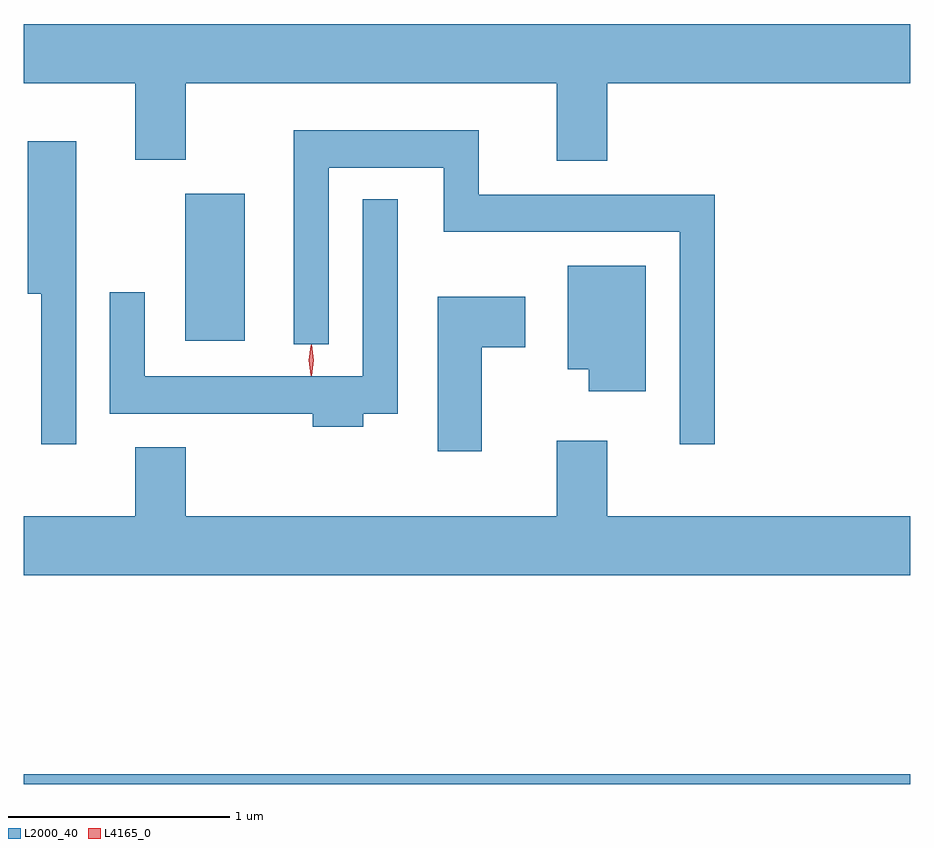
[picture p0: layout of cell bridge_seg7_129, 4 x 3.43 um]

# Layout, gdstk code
import gdstk
lib = gdstk.Library(unit=1e-6, precision=1e-09)
def R(c, l, rs):  # rectangles x0, y0, x1, y1
    for r in rs: c.add(gdstk.rectangle(r[:2], r[2:], *l))
def P(c, l, *ps):  # polygons
    for p in ps: c.add(gdstk.Polygon(p, *l))
L2000_40 = (2000, 40)
L4165_0 = (4165, 0)

bridge_seg7_129 = lib.new_cell('bridge_seg7_129')
R(bridge_seg7_129, L2000_40, [(1563.557,1791.075,1567.557,1791.119), (1564.286,1793.076,1564.554,1793.739)])
P(bridge_seg7_129, L2000_40, [(1566.189,1794.236),(1567.557,1794.236),(1567.557,1794.504),(1563.557,1794.504),(1563.557,1794.236),(1564.061,1794.236),(1564.061,1793.891),(1564.289,1793.891),(1564.289,1794.236),(1565.961,1794.236),(1565.961,1793.886),(1566.189,1793.886)],
  [(1566.674,1793.734),(1565.609,1793.734),(1565.609,1794.024),(1564.776,1794.024),(1564.776,1793.058),(1564.934,1793.058),(1564.934,1793.856),(1565.451,1793.856),(1565.451,1793.566),(1566.516,1793.566),(1566.516,1792.608),(1566.674,1792.608)],
  [(1563.794,1793.974),(1563.576,1793.974),(1563.576,1793.286),(1563.636,1793.286),(1563.636,1792.608),(1563.794,1792.608)],
  [(1565.089,1792.746),(1565.244,1792.746),(1565.244,1793.713),(1565.086,1793.713),(1565.086,1792.914),(1564.104,1792.914),(1564.104,1793.293),(1563.946,1793.293),(1563.946,1792.746),(1564.861,1792.746),(1564.861,1792.686),(1565.089,1792.686)],
  [(1566.364,1793.414),(1566.011,1793.414),(1566.011,1792.946),(1566.106,1792.946),(1566.106,1792.846),(1566.364,1792.846)],
  [(1565.624,1793.046),(1565.819,1793.046),(1565.819,1793.274),(1565.426,1793.274),(1565.426,1792.576),(1565.624,1792.576)],
  [(1567.557,1792.284),(1566.189,1792.284),(1566.189,1792.624),(1565.961,1792.624),(1565.961,1792.284),(1564.289,1792.284),(1564.289,1792.594),(1564.061,1792.594),(1564.061,1792.284),(1563.557,1792.284),(1563.557,1792.016),(1567.557,1792.016)])
P(bridge_seg7_129, L4165_0, [(1564.854,1792.917),(1564.845,1792.986),(1564.854,1793.056),(1564.855,1793.056),(1564.856,1793.056),(1564.865,1792.986),(1564.856,1792.917),(1564.855,1792.917)],
  [(1564.853,1792.919),(1564.853,1792.92),(1564.843,1792.986),(1564.853,1793.052),(1564.853,1793.053),(1564.854,1793.052),(1564.863,1792.986),(1564.854,1792.92)])

lib.write_gds('bridge_seg7_129.gds')
